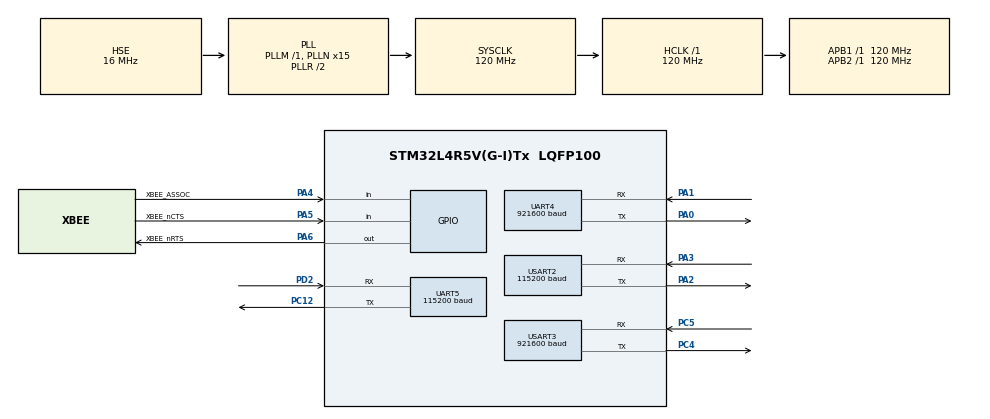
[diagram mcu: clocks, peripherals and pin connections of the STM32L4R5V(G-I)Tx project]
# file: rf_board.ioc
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Dma.Request0=USART3_RX
Dma.USART3_RX.0.Direction=DMA_PERIPH_TO_MEMORY
Dma.USART3_RX.0.EventEnable=DISABLE
Dma.USART3_RX.0.Instance=DMA1_Channel1
Dma.USART3_RX.0.MemDataAlignment=DMA_MDATAALIGN_BYTE
Dma.USART3_RX.0.MemInc=DMA_MINC_ENABLE
Dma.USART3_RX.0.Mode=DMA_CIRCULAR
Dma.USART3_RX.0.PeriphDataAlignment=DMA_PDATAALIGN_BYTE
Dma.USART3_RX.0.PeriphInc=DMA_PINC_DISABLE
Dma.USART3_RX.0.Polarity=HAL_DMAMUX_REQUEST_GEN_RISING
Dma.USART3_RX.0.Priority=DMA_PRIORITY_HIGH
Dma.USART3_RX.0.RequestNumber=1
Dma.USART3_RX.0.SignalID=NONE
Dma.USART3_RX.0.SyncEnable=DISABLE
Dma.USART3_RX.0.SyncPolarity=HAL_DMAMUX_SYNC_NO_EVENT
Dma.USART3_RX.0.SyncRequestNumber=1
Dma.USART3_RX.0.SyncSignalID=NONE
FREERTOS.Tasks01=defaultTask,24,128,StartDefaultTask,Default,NULL,Dynamic,NULL,NULL
FREERTOS.configTOTAL_HEAP_SIZE=49152
FREERTOS.configUSE_NEWLIB_REENTRANT=1
Mcu.Family=STM32L4
Mcu.Name=STM32L4R5V(G-I)Tx
Mcu.Package=LQFP100
NVIC.DMA1_Channel1_IRQn=true\:5\:0\:false\:false\:true\:true\:false\:true\:true
NVIC.PriorityGroup=NVIC_PRIORITYGROUP_4
NVIC.TIM6_DAC_IRQn=true\:15\:0\:false\:false\:true\:false\:false\:true\:true
NVIC.TimeBase=TIM6_DAC_IRQn
NVIC.TimeBaseIP=TIM6
NVIC.UART4_IRQn=true\:5\:0\:false\:false\:true\:true\:true\:true\:true
NVIC.UART5_IRQn=true\:5\:0\:false\:false\:true\:true\:true\:true\:true
NVIC.USART2_IRQn=true\:5\:0\:false\:false\:true\:true\:true\:true\:true
NVIC.USART3_IRQn=true\:5\:0\:false\:false\:true\:true\:true\:true\:true
PA0.Mode=Asynchronous
PA0.Signal=UART4_TX
PA1.Mode=Asynchronous
PA1.Signal=UART4_RX
PA13\ (JTMS/SWDIO).Mode=Serial_Wire
PA13\ (JTMS/SWDIO).Signal=SYS_JTMS-SWDIO
PA14\ (JTCK/SWCLK).Mode=Serial_Wire
PA14\ (JTCK/SWCLK).Signal=SYS_JTCK-SWCLK
PA2.Mode=Asynchronous
PA2.Signal=USART2_TX
PA3.Mode=Asynchronous
PA3.Signal=USART2_RX
PA4.GPIO_Label=XBEE_ASSOC
PA4.Signal=GPIO_Input
PA5.GPIO_Label=XBEE_nCTS
PA5.Signal=GPIO_Input
PA6.GPIO_Label=XBEE_nRTS
PA6.Signal=GPIO_Output
PC12.Mode=Asynchronous
PC12.Signal=UART5_TX
PC4.Mode=Asynchronous
PC4.Signal=USART3_TX
PC5.Mode=Asynchronous
PC5.Signal=USART3_RX
PD2.Mode=Asynchronous
PD2.Signal=UART5_RX
PH0-OSC_IN\ (PH0).Mode=HSE-External-Oscillator
PH0-OSC_IN\ (PH0).Signal=RCC_OSC_IN
PH1-OSC_OUT\ (PH1).Mode=HSE-External-Oscillator
PH1-OSC_OUT\ (PH1).Signal=RCC_OSC_OUT
ProjectManager.HeapSize=0x200
ProjectManager.StackSize=0x400
ProjectManager.TargetToolchain=STM32CubeIDE
RCC.ADCFreq_Value=64000000
RCC.AHBFreq_Value=120000000
RCC.APB1Freq_Value=120000000
RCC.APB1TimFreq_Value=120000000
RCC.APB2Freq_Value=120000000
RCC.APB2TimFreq_Value=120000000
RCC.CortexFreq_Value=120000000
RCC.HCLKFreq_Value=120000000
RCC.HSE_VALUE=16000000
RCC.HSI48_VALUE=48000000
RCC.HSI_VALUE=16000000
RCC.LSE_VALUE=32768
RCC.MSI_VALUE=4000000
RCC.PLLN=15
RCC.PLLSourceVirtual=RCC_PLLSOURCE_HSE
RCC.SYSCLKFreq_VALUE=120000000
RCC.SYSCLKSource=RCC_SYSCLKSOURCE_PLLCLK
RCC.USBFreq_Value=64000000
RCC.VCOOutputFreq_Value=240000000
UART4.BaudRate=921600
UART4.VirtualMode-Asynchronous=VM_ASYNC
UART5.BaudRate=115200
UART5.VirtualMode-Asynchronous=VM_ASYNC
USART2.BaudRate=115200
USART2.VirtualMode-Asynchronous=VM_ASYNC
USART3.BaudRate=921600
USART3.VirtualMode-Asynchronous=VM_ASYNC
VP_FREERTOS_VS_CMSIS_V2.Mode=CMSIS_V2
VP_SYS_VS_tim6.Mode=TIM6
board=custom

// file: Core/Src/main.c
/* USER CODE BEGIN Header */
/**
  ******************************************************************************
  * @file           : main.c
  * @brief          : Main program body
  ******************************************************************************
  * @attention
  *
  * Copyright (c) 2026 STMicroelectronics.
  * All rights reserved.
  *
  * This software is licensed under terms that can be found in the LICENSE file
  * in the root directory of this software component.
  * If no LICENSE file comes with this software, it is provided AS-IS.
  *
  ******************************************************************************
  */
/* USER CODE END Header */
#include "main.h"
#include "cmsis_os.h"

UART_HandleTypeDef huart4;
UART_HandleTypeDef huart5;
UART_HandleTypeDef huart2;
UART_HandleTypeDef huart3;
DMA_HandleTypeDef hdma_usart3_rx;

/* Definitions for defaultTask */
osThreadId_t defaultTaskHandle;
const osThreadAttr_t defaultTask_attributes = {
  .name = "defaultTask",
  .stack_size = 128 * 4,
  .priority = (osPriority_t) osPriorityNormal,
};

void SystemClock_Config(void);
static void MX_GPIO_Init(void);
static void MX_DMA_Init(void);
static void MX_USART2_UART_Init(void);
static void MX_USART3_UART_Init(void);
static void MX_UART4_Init(void);
static void MX_UART5_Init(void);
void StartDefaultTask(void *argument);

int main(void)
{

  /* MCU Configuration--------------------------------------------------------*/

  /* Reset of all peripherals, Initializes the Flash interface and the Systick. */
  HAL_Init();

  /* Configure the system clock */
  SystemClock_Config();

  /* Initialize all configured peripherals */
  MX_GPIO_Init();
  MX_DMA_Init();
  MX_USART2_UART_Init();
  MX_USART3_UART_Init();
  MX_UART4_Init();
  MX_UART5_Init();

  /* Init scheduler */
  osKernelInitialize();

  /* Create the thread(s) */
  /* creation of defaultTask */
  defaultTaskHandle = osThreadNew(StartDefaultTask, NULL, &defaultTask_attributes);

  /* USER CODE BEGIN RTOS_THREADS */
  RF_Tasks_Init();   /* fc_comms, lora, xbee, gsm (freertos.c) */
  /* USER CODE END RTOS_THREADS */

  /* Start scheduler */
  osKernelStart();

  /* We should never get here as control is now taken by the scheduler */

  /* Infinite loop */
  while (1)
  {

  }
}

void SystemClock_Config(void)
{
  RCC_OscInitTypeDef RCC_OscInitStruct = {0};
  RCC_ClkInitTypeDef RCC_ClkInitStruct = {0};

  /** Configure the main internal regulator output voltage
  */
  if (HAL_PWREx_ControlVoltageScaling(PWR_REGULATOR_VOLTAGE_SCALE1_BOOST) != HAL_OK)
  {
    Error_Handler();
  }

  /** Initializes the RCC Oscillators according to the specified parameters
  * in the RCC_OscInitTypeDef structure.
  */
  RCC_OscInitStruct.OscillatorType = RCC_OSCILLATORTYPE_HSE;
  RCC_OscInitStruct.HSEState = RCC_HSE_ON;
  RCC_OscInitStruct.PLL.PLLState = RCC_PLL_ON;
  RCC_OscInitStruct.PLL.PLLSource = RCC_PLLSOURCE_HSE;
  RCC_OscInitStruct.PLL.PLLM = 1;
  RCC_OscInitStruct.PLL.PLLN = 15;
  RCC_OscInitStruct.PLL.PLLP = RCC_PLLP_DIV2;
  RCC_OscInitStruct.PLL.PLLQ = RCC_PLLQ_DIV2;
  RCC_OscInitStruct.PLL.PLLR = RCC_PLLR_DIV2;
  if (HAL_RCC_OscConfig(&RCC_OscInitStruct) != HAL_OK)
  {
    Error_Handler();
  }

  /** Initializes the CPU, AHB and APB buses clocks
  */
  RCC_ClkInitStruct.ClockType = RCC_CLOCKTYPE_HCLK|RCC_CLOCKTYPE_SYSCLK
                              |RCC_CLOCKTYPE_PCLK1|RCC_CLOCKTYPE_PCLK2;
  RCC_ClkInitStruct.SYSCLKSource = RCC_SYSCLKSOURCE_PLLCLK;
  RCC_ClkInitStruct.AHBCLKDivider = RCC_SYSCLK_DIV1;
  RCC_ClkInitStruct.APB1CLKDivider = RCC_HCLK_DIV1;
  RCC_ClkInitStruct.APB2CLKDivider = RCC_HCLK_DIV1;

  if (HAL_RCC_ClockConfig(&RCC_ClkInitStruct, FLASH_LATENCY_5) != HAL_OK)
  {
    Error_Handler();
  }
}

static void MX_UART4_Init(void)
{

  huart4.Instance = UART4;
  huart4.Init.BaudRate = 921600;
  huart4.Init.WordLength = UART_WORDLENGTH_8B;
  huart4.Init.StopBits = UART_STOPBITS_1;
  huart4.Init.Parity = UART_PARITY_NONE;
  huart4.Init.Mode = UART_MODE_TX_RX;
  huart4.Init.HwFlowCtl = UART_HWCONTROL_NONE;
  huart4.Init.OverSampling = UART_OVERSAMPLING_16;
  huart4.Init.OneBitSampling = UART_ONE_BIT_SAMPLE_DISABLE;
  huart4.Init.ClockPrescaler = UART_PRESCALER_DIV1;
  huart4.AdvancedInit.AdvFeatureInit = UART_ADVFEATURE_NO_INIT;
  if (HAL_UART_Init(&huart4) != HAL_OK)
  {
    Error_Handler();
  }
  if (HAL_UARTEx_SetTxFifoThreshold(&huart4, UART_TXFIFO_THRESHOLD_1_8) != HAL_OK)
  {
    Error_Handler();
  }
  if (HAL_UARTEx_SetRxFifoThreshold(&huart4, UART_RXFIFO_THRESHOLD_1_8) != HAL_OK)
  {
    Error_Handler();
  }
  if (HAL_UARTEx_DisableFifoMode(&huart4) != HAL_OK)
  {
    Error_Handler();
  }

}

static void MX_UART5_Init(void)
{

  huart5.Instance = UART5;
  huart5.Init.BaudRate = 115200;
  huart5.Init.WordLength = UART_WORDLENGTH_8B;
  huart5.Init.StopBits = UART_STOPBITS_1;
  huart5.Init.Parity = UART_PARITY_NONE;
  huart5.Init.Mode = UART_MODE_TX_RX;
  huart5.Init.HwFlowCtl = UART_HWCONTROL_NONE;
  huart5.Init.OverSampling = UART_OVERSAMPLING_16;
  huart5.Init.OneBitSampling = UART_ONE_BIT_SAMPLE_DISABLE;
  huart5.Init.ClockPrescaler = UART_PRESCALER_DIV1;
  huart5.AdvancedInit.AdvFeatureInit = UART_ADVFEATURE_NO_INIT;
  if (HAL_UART_Init(&huart5) != HAL_OK)
  {
    Error_Handler();
  }
  if (HAL_UARTEx_SetTxFifoThreshold(&huart5, UART_TXFIFO_THRESHOLD_1_8) != HAL_OK)
  {
    Error_Handler();
  }
  if (HAL_UARTEx_SetRxFifoThreshold(&huart5, UART_RXFIFO_THRESHOLD_1_8) != HAL_OK)
  {
    Error_Handler();
  }
  if (HAL_UARTEx_DisableFifoMode(&huart5) != HAL_OK)
  {
    Error_Handler();
  }

}

static void MX_USART2_UART_Init(void)
{

  huart2.Instance = USART2;
  huart2.Init.BaudRate = 115200;
  huart2.Init.WordLength = UART_WORDLENGTH_8B;
  huart2.Init.StopBits = UART_STOPBITS_1;
  huart2.Init.Parity = UART_PARITY_NONE;
  huart2.Init.Mode = UART_MODE_TX_RX;
  huart2.Init.HwFlowCtl = UART_HWCONTROL_NONE;
  huart2.Init.OverSampling = UART_OVERSAMPLING_16;
  huart2.Init.OneBitSampling = UART_ONE_BIT_SAMPLE_DISABLE;
  huart2.Init.ClockPrescaler = UART_PRESCALER_DIV1;
  huart2.AdvancedInit.AdvFeatureInit = UART_ADVFEATURE_NO_INIT;
  if (HAL_UART_Init(&huart2) != HAL_OK)
  {
    Error_Handler();
  }
  if (HAL_UARTEx_SetTxFifoThreshold(&huart2, UART_TXFIFO_THRESHOLD_1_8) != HAL_OK)
  {
    Error_Handler();
  }
  if (HAL_UARTEx_SetRxFifoThreshold(&huart2, UART_RXFIFO_THRESHOLD_1_8) != HAL_OK)
  {
    Error_Handler();
  }
  if (HAL_UARTEx_DisableFifoMode(&huart2) != HAL_OK)
  {
    Error_Handler();
  }

}

static void MX_USART3_UART_Init(void)
{

  huart3.Instance = USART3;
  huart3.Init.BaudRate = 921600;
  huart3.Init.WordLength = UART_WORDLENGTH_8B;
  huart3.Init.StopBits = UART_STOPBITS_1;
  huart3.Init.Parity = UART_PARITY_NONE;
  huart3.Init.Mode = UART_MODE_TX_RX;
  huart3.Init.HwFlowCtl = UART_HWCONTROL_NONE;
  huart3.Init.OverSampling = UART_OVERSAMPLING_16;
  huart3.Init.OneBitSampling = UART_ONE_BIT_SAMPLE_DISABLE;
  huart3.Init.ClockPrescaler = UART_PRESCALER_DIV1;
  huart3.AdvancedInit.AdvFeatureInit = UART_ADVFEATURE_NO_INIT;
  if (HAL_UART_Init(&huart3) != HAL_OK)
  {
    Error_Handler();
  }
  if (HAL_UARTEx_SetTxFifoThreshold(&huart3, UART_TXFIFO_THRESHOLD_1_8) != HAL_OK)
  {
    Error_Handler();
  }
  if (HAL_UARTEx_SetRxFifoThreshold(&huart3, UART_RXFIFO_THRESHOLD_1_8) != HAL_OK)
  {
    Error_Handler();
  }
  if (HAL_UARTEx_DisableFifoMode(&huart3) != HAL_OK)
  {
    Error_Handler();
  }

}

static void MX_DMA_Init(void)
{

  /* DMA controller clock enable */
  __HAL_RCC_DMAMUX1_CLK_ENABLE();
  __HAL_RCC_DMA1_CLK_ENABLE();

  /* DMA interrupt init */
  /* DMA1_Channel1_IRQn interrupt configuration */
  HAL_NVIC_SetPriority(DMA1_Channel1_IRQn, 5, 0);
  HAL_NVIC_EnableIRQ(DMA1_Channel1_IRQn);

}

static void MX_GPIO_Init(void)
{
  GPIO_InitTypeDef GPIO_InitStruct = {0};

  /* GPIO Ports Clock Enable */
  __HAL_RCC_GPIOH_CLK_ENABLE();
  __HAL_RCC_GPIOA_CLK_ENABLE();
  __HAL_RCC_GPIOC_CLK_ENABLE();
  __HAL_RCC_GPIOD_CLK_ENABLE();

  /*Configure GPIO pin Output Level */
  HAL_GPIO_WritePin(XBEE_nRTS_GPIO_Port, XBEE_nRTS_Pin, GPIO_PIN_RESET);

  /*Configure GPIO pins : XBEE_ASSOC_Pin XBEE_nCTS_Pin */
  GPIO_InitStruct.Pin = XBEE_ASSOC_Pin|XBEE_nCTS_Pin;
  GPIO_InitStruct.Mode = GPIO_MODE_INPUT;
  GPIO_InitStruct.Pull = GPIO_NOPULL;
  HAL_GPIO_Init(GPIOA, &GPIO_InitStruct);

  /*Configure GPIO pin : XBEE_nRTS_Pin */
  GPIO_InitStruct.Pin = XBEE_nRTS_Pin;
  GPIO_InitStruct.Mode = GPIO_MODE_OUTPUT_PP;
  GPIO_InitStruct.Pull = GPIO_NOPULL;
  GPIO_InitStruct.Speed = GPIO_SPEED_FREQ_LOW;
  HAL_GPIO_Init(XBEE_nRTS_GPIO_Port, &GPIO_InitStruct);

}

void StartDefaultTask(void *argument)
{
  for(;;)
  {
    osDelay(1);
  }
}

void HAL_TIM_PeriodElapsedCallback(TIM_HandleTypeDef *htim)
{
  if (htim->Instance == TIM6)
  {
    HAL_IncTick();
  }
}

void Error_Handler(void)
{
  __disable_irq();
  while (1)
  {
  }
}

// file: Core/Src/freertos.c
/* USER CODE BEGIN Header */
/**
  ******************************************************************************
  * File Name          : freertos.c
  * Description        : Code for freertos applications
  ******************************************************************************
  * @attention
  *
  * Copyright (c) 2026 STMicroelectronics.
  * All rights reserved.
  *
  * This software is licensed under terms that can be found in the LICENSE file
  * in the root directory of this software component.
  * If no LICENSE file comes with this software, it is provided AS-IS.
  *
  ******************************************************************************
  */
/* USER CODE END Header */

#include "FreeRTOS.h"
#include "task.h"
#include "main.h"

/* USER CODE BEGIN Includes */
#include "cmsis_os.h"
#include "telemetry.h"
#include <ctype.h>
#include <math.h>
#include <stdbool.h>
#include <stdio.h>
#include <stdlib.h>
#include <string.h>
/* USER CODE END Includes */

/* USER CODE BEGIN PD */
/* ---------------- tunables ---------------- */
#define LORA_PERIOD_MS      3000    /* E22 air rate 2.4 kbps: one ~280 B frame is ~1.15 s on air (half duplex); the rest is the telecommand window */
#define XBEE_PERIOD_MS      200
#define GSM_PERIOD_MS       66      /* ~15 Hz; see note in gsm_task */
#define SMS_PERIOD_MS       60000
#define GSM_BOOT_MS         5000    /* EC200U power-up before the first AT */
#define GSM_PUB_TIMEOUT_MS  200     /* wait for +QMTPUBEX; a slow ack is not a link failure */
#define GSM_MAX_FAILS       8       /* consecutive publish failures -> reconnect */
#define MQTT_RETRY_MS       3000    /* pause between broker connect attempts (never gives up) */
#define MQTT_RETRIES_PER_NET 5      /* after this many broker misses, redo the network bring-up as well */
#define SMS_TIMEOUT_MS      8000    /* +CMGS can take seconds; publishing pauses meanwhile */
#define LORA_CHUNK          240     /* E22 UART sub-packet: send 240, pause, send the rest (rf_txtest build) */
#define LORA_CHUNK_GAP_MS   1000    /* first chunk must be fully on air before the tail (was 500 at 62.5 kbps) */
#define XBEE_CTS_WAIT_MS    50
#define XBEE_PIECE          256     /* bytes per XBee write between nCTS checks (one RF packet) */
#define XBEE_IMG_MARGIN_MS  25      /* stop relaying image lines this close to the next telemetry slot */
#define XBEE_AT_MAX         64      /* longest XBee AT telecommand, e.g. "ATCH 11" (rf 4 reference values) */
#define XBEE_AT_GUARD_MS    1100    /* silence required before "+++" */
#define XBEE_AT_RESP_MS     2000    /* wait for each XBee reply */
#define XBEE_AT_SETTLE_MS   100     /* pause after ATCN before relaying again */
#define GSM_IMG_PER_PERIOD  1       /* image lines published per GSM period (~15 lines/s) */
#define IMG_RING            192     /* buffered $IMG lines: 270 KB static in RAM3 (384 KB), ~190 KB of image */
#define IMG_LINE_MAX        1408    /* $IMG line of 1024 raw bytes (IMG LINK XBEE, FC default) is ~1400 chars.
                                       IMG LINK MQTT lines (~13.8 KB) do not fit: that command is blocked */

#define GSM_APN         "airtelgprs.com"
#define MQTT_BROKER     "broker.hivemq.com"
#define MQTT_PORT       1883
#define MQTT_CLIENT_ID  "cansat_rf_011"
#define MQTT_TOPIC_TLM  "cansat/011/tlm"
#define MQTT_TOPIC_CMD  "cansat/011/cmd"
#define MQTT_TOPIC_IMG  "cansat/011/img"
#define MQTT_TOPIC_ACK  "cansat/011/ack"   /* "OK <cmd>" when forwarded, "ARMED", "ARM? <cmd>", "BAD <cmd>" */
#define SMS_NUMBER      "+916375605728"
#define SMS_CMD_FROM    "+919373986194"  /* only SMS from this number are telecommands; "" accepts any sender */

#define TC_MAX          120     /* longest telecommand line incl. CRLF (FC limit 127) */
#define TC_GAP_MS       20      /* FC asks for >= 20 ms between command lines */
#define TC_ARM_MS       60000   /* ARM opens this window for RESET/BURN/DEPLOY/PARA/STATE/PERSIST/SD/BENCH/DIAG/SIM */
#define FC_DMA_BUF      2048    /* 1.4 KB $IMG lines arrive back to back at 921600 (10 ms apart) */
#define GSM_ACC_MAX     1024
#define GNSS_PERIOD_MS  1000    /* AT+QGPSLOC poll of the EC200U GNSS; blocks the gsm loop ~100 ms each time */
/* USER CODE END PD */

/* USER CODE BEGIN Variables */
/* RF board application tasks live here (see RF_Tasks_Init at the bottom):
 *   fc_comms  USART3 (DMA)  parse FC telemetry, queue $IMG lines, relay ground-station commands to the FC
 *   lora      UART5         E22-900T22D, telemetry every 3 s
 *   xbee      USART2        XBee Pro, telemetry at 5 Hz + image lines in between
 *   gsm       UART4         EC200U, MQTT at 15 Hz + image lines + SMS every 60 s
 */
extern UART_HandleTypeDef huart2, huart3, huart4, huart5;
extern DMA_HandleTypeDef  hdma_usart3_rx;

/* ---------------- shared state ---------------- */
static FC_tlm        fc_tlm;              /* latest packet from the FC */
static bool          fc_valid;
static FC_tlm        gsm_gnss;            /* EC200U fix, GNSS fields only; sats 0 = no fix. Guarded by fc_mutex */
static osMutexId_t   fc_mutex;

typedef struct { uint8_t len; char data[TC_MAX]; } tc_msg_t;
static osMessageQueueId_t tc_q;           /* radios/ISRs -> fc_comms -> FC */
static osMessageQueueId_t ack_q;          /* fc_comms -> gsm -> MQTT_TOPIC_ACK */
static uint32_t           tc_armed_until; /* tick until which irreversible commands pass */

static osThreadId_t fc_task_h, gsm_task_h;
enum { FLAG_RX = 1, FLAG_RESET = 2 };

/* Image relay ring: fc_comms writes $IMGSTART/$IMG/$IMGEND lines verbatim (+CRLF), xbee and gsm
 * each read at their own pace. Sequence numbers, slot = seq % IMG_RING; full when the slowest
 * reader is IMG_RING behind. IMGACK,<id>,OK goes to the FC once both readers passed $IMGEND. */
typedef struct { uint16_t len; char data[IMG_LINE_MAX]; } img_line_t;
static img_line_t        img_ring[IMG_RING];
static volatile uint32_t img_w, img_r_xbee, img_r_gsm;
static bool              img_drop;             /* a line of the current image did not fit */
static int               img_ack_id = -1;      /* image waiting for its OK ack, or -1 */
static uint32_t          img_ack_seq;          /* readers must reach this seq before the OK */

static uint8_t fc_dma_buf[FC_DMA_BUF];
static uint8_t lora_rx[TC_MAX], xbee_rx[TC_MAX], gsm_rx[128];

/* XBee AT telecommand (ported from the rf 4 reference main.c): a USART2 line starting with "AT" configures
 * the XBee itself instead of going to the FC. The ISR queues it (XAT_PENDING); xbee_task runs the sequence
 * (XAT_RUNNING: USART2 RX is the module's reply and goes to xbee_at_acc, not to the FC). One at a time. */
enum { XAT_IDLE, XAT_PENDING, XAT_RUNNING };
static volatile uint8_t  xbee_at_state;
static char              xbee_at_cmd[XBEE_AT_MAX];
static char              xbee_at_acc[64];
static volatile uint8_t  xbee_at_acc_len;

/* EC200U response accumulator: ISR appends, gsm task reads/clears under a critical section */
static char              gsm_acc[GSM_ACC_MAX];
static volatile uint16_t gsm_acc_len;
/* USER CODE END Variables */

/* USER CODE BEGIN Application */
/* ---------------- helpers ---------------- */
/* Fixed-rate sleep. Resyncs instead of bursting if a cycle overran. */
static void sleep_until(uint32_t *next, uint32_t period)
{
    *next += period;
    int32_t left = (int32_t)(*next - osKernelGetTickCount());
    if (left > 0) osDelay(left);
    else *next = osKernelGetTickCount();
}

static bool tlm_snapshot(FC_tlm *dst, uint32_t packet_count)
{
    if (!fc_valid) return false;
    osMutexAcquire(fc_mutex, osWaitForever);
    tlm_copy(dst, &fc_tlm, packet_count);
    if (gsm_gnss.sats > dst->sats) {       /* ponytail: more satellites wins; compare HDOP too if both fixes are weak */
        dst->gnss_time = gsm_gnss.gnss_time;
        dst->lat = gsm_gnss.lat;
        dst->lon = gsm_gnss.lon;
        dst->gnss_alt = gsm_gnss.gnss_alt;
        dst->sats = gsm_gnss.sats;
        dst->gnss_vel[0] = gsm_gnss.gnss_vel[0];
        dst->gnss_vel[1] = gsm_gnss.gnss_vel[1];
    }
    osMutexRelease(fc_mutex);
    return true;
}

/* Queue a telecommand for the FC. Strips CR/LF, appends CRLF (FC console ends lines on Enter).
 * ISR-safe (timeout 0). */
static void tc_push(const char *s, size_t len)
{
    tc_msg_t m;
    while (len && (s[len - 1] == '\r' || s[len - 1] == '\n')) len--;
    if (!len || len > TC_MAX - 2) return;
    memcpy(m.data, s, len);
    m.data[len++] = '\r';
    m.data[len++] = '\n';
    m.len = len;
    osMessageQueuePut(tc_q, &m, 0, 0);
}

/* ---------------- telecommands (FC TELECOMMAND_HANDOFF.md, sections 2, 4, 7) ----------------
 * Normalise a ground-station line for the FC console and decide whether to forward it. Accepts the
 * raw console words ("BUZZ ON") or CMD,<team>,<verb>,<arg,...>. Upper-cases, keeps printable ASCII
 * only, collapses spaces, refuses '$' lines. Irreversible words, DIAG and SIM need an ARM line first
 * (ARM is consumed here, never sent to the FC). Leaves the clean line in m (no CRLF) and returns the
 * ack word for the ground: "OK" = forwarded, "ARMED", "ARM?" = blocked, "BAD" = unusable. */
static const char *tc_filter(tc_msg_t *m)
{
    /* ponytail: whole-word check, so read-only STATE / PERSIST / SD also need ARM; they only print on USB anyway */
    static const char *const armed_only[] = { "RESET", "BURN", "PAYLOAD", "DEPLOY", "STATE", "PERSIST",
                                              "SD", "BENCH", "DIAG", "SIM", "PARA", NULL };
    char *d = m->data;
    uint8_t n = 0, i = 0;
    bool cmd_fmt = m->len > 4 && strncmp(d, "CMD,", 4) == 0;

    if (cmd_fmt) {                                  /* CMD,<team>,VERB,ARG -> VERB ARG */
        int commas = 0;
        while (i < m->len && commas < 2) if (d[i++] == ',') commas++;
    }
    for (; i < m->len; i++) {
        char c = d[i];
        if (cmd_fmt && c == ',') c = ' ';
        if (c < 0x20 || c > 0x7e) continue;
        if (c == ' ' && (n == 0 || d[n - 1] == ' ')) continue;
        d[n++] = (char)toupper((unsigned char)c);
    }
    while (n && d[n - 1] == ' ') n--;
    m->len = n;
    if (n == 0 || d[0] == '$' || n > TC_MAX - 2) return "BAD";
    d[n] = 0;                                       /* queue payloads carry no terminator */
    if (strcmp(d, "IMG LINK MQTT") == 0) return "BAD";  /* its ~13.8 KB $IMG lines exceed IMG_LINE_MAX */

    size_t w = strcspn(d, " ,");                    /* SIM,t,alt,... has no space after the word */
    if (w == 3 && strncmp(d, "ARM", 3) == 0) {
        tc_armed_until = osKernelGetTickCount() + TC_ARM_MS;
        return "ARMED";
    }
    for (int k = 0; armed_only[k]; k++)
        if (strlen(armed_only[k]) == w && strncmp(d, armed_only[k], w) == 0 &&
            (int32_t)(tc_armed_until - osKernelGetTickCount()) <= 0)
            return "ARM?";
    return "OK";
}

/* Queue "<status> <line>" for the gsm task to publish on MQTT_TOPIC_ACK (handoff section 8, option A). */
/* The FC's command task blocks on these (handoff 4.4, 10); hold our queue meanwhile so nothing
 * piles into its 512-byte RX ring. Returns the extra ms to wait after sending the line. */
static uint32_t tc_hold(const char *line)
{
    if (strncmp(line, "GYRO CAL", 8) == 0) return 13000;   /* waits for gyro status 3, then averages 3 s */
    if (strncmp(line, "SD CLEAR", 8) == 0) return 3000;    /* a few seconds with a full card */
    return 0;
}

static void tc_ack(const char *status, const tc_msg_t *m)
{
    tc_msg_t a;
    int n = snprintf(a.data, sizeof a.data, "%s %.*s", status, (int)m->len, m->data);
    a.len = (uint8_t)(n < (int)sizeof a.data ? n : (int)sizeof a.data - 1);
    osMessageQueuePut(ack_q, &a, 0, 0);
}

/* ---------------- XBee AT telecommands, ISR side ---------------- */
/* "AT..." line -> xbee_at_cmd (no CR/LF), true. Anything else -> false, it is for the FC.
 * While a command is queued or running, further AT lines are dropped (reference: "busy, dropped"). */
static bool xbee_at_queue(const char *s, size_t n)
{
    size_t len = 0;
    while (n && (*s == '\r' || *s == '\n' || *s == ' ')) s++, n--;
    if (n < 2 || s[0] != 'A' || s[1] != 'T') return false;
    if (xbee_at_state != XAT_IDLE) return true;
    while (len < n && len < XBEE_AT_MAX - 1 && s[len] != '\r' && s[len] != '\n') len++;
    memcpy(xbee_at_cmd, s, len);
    xbee_at_cmd[len] = 0;
    xbee_at_state = XAT_PENDING;
    return true;
}

static void xbee_at_collect(const uint8_t *s, size_t n)
{
    if (xbee_at_acc_len + n < sizeof xbee_at_acc) {
        memcpy(xbee_at_acc + xbee_at_acc_len, s, n);
        xbee_at_acc_len += n;
        xbee_at_acc[xbee_at_acc_len] = 0;
    }
}

/* ---------------- UART callbacks ---------------- */
void HAL_UARTEx_RxEventCallback(UART_HandleTypeDef *h, uint16_t size)
{
    if (h == &huart3) {                     /* circular DMA keeps running; wake the parser */
        if (fc_task_h) osThreadFlagsSet(fc_task_h, FLAG_RX);
    } else if (h == &huart4) {
        if (gsm_acc_len + size < GSM_ACC_MAX) {
            memcpy(gsm_acc + gsm_acc_len, gsm_rx, size);
            gsm_acc_len += size;
            gsm_acc[gsm_acc_len] = 0;
        }
        if (gsm_task_h) osThreadFlagsSet(gsm_task_h, FLAG_RX);
        HAL_UARTEx_ReceiveToIdle_IT(&huart4, gsm_rx, sizeof gsm_rx);
    } else if (h == &huart5) {              /* LoRa: transparent mode, payload is the command */
        tc_push((char *)lora_rx, size);     /* ponytail: a command split across two IDLE events becomes two lines */
        HAL_UARTEx_ReceiveToIdle_IT(&huart5, lora_rx, sizeof lora_rx);
    } else if (h == &huart2) {              /* XBee: transparent mode; "AT..." lines configure the XBee itself */
        if (xbee_at_state == XAT_RUNNING) xbee_at_collect(xbee_rx, size);
        else if (!xbee_at_queue((char *)xbee_rx, size)) tc_push((char *)xbee_rx, size);
        HAL_UARTEx_ReceiveToIdle_IT(&huart2, xbee_rx, sizeof xbee_rx);
    }
}

/* Overrun/framing errors abort HAL reception: re-arm, never let a port go deaf. */
void HAL_UART_ErrorCallback(UART_HandleTypeDef *h)
{
    __HAL_UART_CLEAR_OREFLAG(h);
    if (h == &huart3) {
        HAL_UARTEx_ReceiveToIdle_DMA(&huart3, fc_dma_buf, sizeof fc_dma_buf);
        if (fc_task_h) osThreadFlagsSet(fc_task_h, FLAG_RESET);
    } else if (h == &huart4) HAL_UARTEx_ReceiveToIdle_IT(&huart4, gsm_rx, sizeof gsm_rx);
    else if (h == &huart5)   HAL_UARTEx_ReceiveToIdle_IT(&huart5, lora_rx, sizeof lora_rx);
    else if (h == &huart2)   HAL_UARTEx_ReceiveToIdle_IT(&huart2, xbee_rx, sizeof xbee_rx);
}

/* ---------------- image relay ring ---------------- */
static uint32_t img_min_read(void)
{
    uint32_t a = img_r_xbee, b = img_r_gsm;
    return a < b ? a : b;
}

/* Next unsent line for a reader, or NULL. The reader bumps *r after it has sent the line. */
static const img_line_t *img_peek(volatile uint32_t *r)
{
    return *r != img_w ? &img_ring[*r % IMG_RING] : NULL;
}

static void img_ack(int id, bool ok)
{
    char s[24];
    int n = snprintf(s, sizeof s, "IMGACK,%d,%s\r\n", id, ok ? "OK" : "FAIL");
    HAL_UART_Transmit(&huart3, (uint8_t *)s, n, 50);
}

static void img_push(const char *line)
{
    size_t n = strlen(line);
    if (strncmp(line, "$IMGSTART,", 10) == 0) { img_drop = false; img_ack_id = -1; }

    if (n + 2 > IMG_LINE_MAX || img_w - img_min_read() >= IMG_RING) {
        img_drop = true;                                   /* radios too slow for this image: it will FAIL */
    } else {
        img_line_t *l = &img_ring[img_w % IMG_RING];
        memcpy(l->data, line, n);
        l->data[n] = '\r';
        l->data[n + 1] = '\n';
        l->len = n + 2;
        __DMB();                                           /* data before the readers see the new seq */
        img_w++;
    }

    if (strncmp(line, "$IMGEND,", 8) == 0) {
        int id = (int)strtoul(line + 8, NULL, 10);
        if (img_drop) img_ack(id, false);                  /* FC resends the image */
        else { img_ack_id = id; img_ack_seq = img_w; }     /* OK once both radios drained it */
    }
}

/* ---------------- 1. fc_comms ---------------- */
static void fc_handle_line(const char *line)
{
    FC_tlm t;
    if (strncmp(line, "$IMG", 4) == 0) { img_push(line); return; }
    if (line[0] != '$' || line[1] != ',') return;   /* console echo etc.: not handled here */
    if (tlm_parse(line, &t) != 0) return;
    osMutexAcquire(fc_mutex, osWaitForever);
    fc_tlm = t;
    fc_valid = true;
    osMutexRelease(fc_mutex);
}

static void fc_comms_task(void *arg)
{
    static char line[IMG_LINE_MAX];
    uint16_t tail = 0, ll = 0;
    uint32_t tc_last = 0;
    tc_msg_t m;

    fc_task_h = osThreadGetId();
    HAL_UARTEx_ReceiveToIdle_DMA(&huart3, fc_dma_buf, sizeof fc_dma_buf);

    for (;;) {
        uint32_t f = osThreadFlagsWait(FLAG_RX | FLAG_RESET, osFlagsWaitAny, 20);
        if (!(f & 0x80000000u) && (f & FLAG_RESET)) { tail = 0; ll = 0; }

        uint16_t head = FC_DMA_BUF - __HAL_DMA_GET_COUNTER(&hdma_usart3_rx);
        while (tail != head) {
            char c = (char)fc_dma_buf[tail];
            tail = (tail + 1) % FC_DMA_BUF;
            if (c == '\n') {
                line[ll] = 0;
                fc_handle_line(line);
                ll = 0;
            } else if (c != '\r') {
                if (ll < sizeof line - 1) line[ll++] = c;
                else ll = 0;                            /* garbage longer than a frame: drop it */
            }
        }

        /* one command per pass, at least TC_GAP_MS apart (the FC polls its 512-byte ring every 20 ms) */
        if ((int32_t)(osKernelGetTickCount() - tc_last) >= TC_GAP_MS &&
            osMessageQueueGet(tc_q, &m, NULL, 0) == osOK) {
            const char *st = tc_filter(&m);
            tc_ack(st, &m);
            if (st[0] == 'O') {
                m.data[m.len++] = '\r';
                m.data[m.len++] = '\n';
                HAL_UART_Transmit(&huart3, (uint8_t *)m.data, m.len, 50);
                tc_last = osKernelGetTickCount() + tc_hold(m.data);
            }
        }

        if (img_ack_id >= 0 && img_min_read() >= img_ack_seq) {
            img_ack(img_ack_id, true);
            img_ack_id = -1;
        }
    }
}

/* ---------------- 2. LoRa ---------------- */
static void lora_task(void *arg)
{
    static char buf[TLM_LINE_MAX];
    LoRa_tlm t;
    uint32_t count = 0, next = osKernelGetTickCount();

    HAL_UARTEx_ReceiveToIdle_IT(&huart5, lora_rx, sizeof lora_rx);
    for (;;) {
        if (tlm_snapshot(&t, count + 1)) {
            int len = tlm_format(&t, buf, sizeof buf);
            if (len > 0) {
                int first = len > LORA_CHUNK ? LORA_CHUNK : len;
                HAL_UART_Transmit(&huart5, (uint8_t *)buf, first, 200);
                if (len > first) {
                    osDelay(LORA_CHUNK_GAP_MS);
                    HAL_UART_Transmit(&huart5, (uint8_t *)buf + first, len - first, 200);
                }
                count++;
            }
        }
        sleep_until(&next, LORA_PERIOD_MS);
    }
}

/* ---------------- 3. XBee ---------------- */
static bool xbee_write(const char *s, int len)
{
    /* XBee nCTS high = its UART buffer is nearly full: check before each XBEE_PIECE, wait a little, then send anyway */
    for (int off = 0; off < len; off += XBEE_PIECE) {
        int n = len - off < XBEE_PIECE ? len - off : XBEE_PIECE;
        for (int i = 0; i < XBEE_CTS_WAIT_MS / 5 && HAL_GPIO_ReadPin(XBEE_nCTS_GPIO_Port, XBEE_nCTS_Pin) == GPIO_PIN_SET; i++)
            osDelay(5);
        if (HAL_UART_Transmit(&huart2, (uint8_t *)s + off, n, 100) != HAL_OK) return false;
    }
    return len > 0;
}

/* ---------------- XBee AT telecommands, task side ---------------- */
static void xbee_at_clear(void)
{
    taskENTER_CRITICAL();
    xbee_at_acc_len = 0;
    xbee_at_acc[0] = 0;
    taskEXIT_CRITICAL();
}

/* Wait for one reply line from the XBee (ends in '\r'); out gets it without CR/LF. false on timeout. */
static bool xbee_at_wait(char *out, size_t n, uint32_t timeout_ms)
{
    uint32_t deadline = osKernelGetTickCount() + timeout_ms;
    for (;;) {
        bool done = false;
        taskENTER_CRITICAL();
        const char *p = xbee_at_acc;
        while (*p == '\r' || *p == '\n') p++;
        if (*p && strchr(p, '\r')) {
            size_t l = strcspn(p, "\r\n");
            if (l >= n) l = n - 1;
            memcpy(out, p, l);
            out[l] = 0;
            xbee_at_acc_len = 0;
            xbee_at_acc[0] = 0;
            done = true;
        }
        taskEXIT_CRITICAL();
        if (done) return true;
        if ((int32_t)(deadline - osKernelGetTickCount()) <= 0) return false;
        osDelay(10);
    }
}

/* "RESP|<cmd>|<status>|<detail>\r\n" to the ground; the XBee must be in transparent mode. */
static void xbee_at_resp(const char *status, const char *detail)
{
    char buf[96];
    int n = snprintf(buf, sizeof buf, "RESP|%.4s|%s|%s\r\n", xbee_at_cmd, status, detail);
    xbee_write(buf, n < (int)sizeof buf ? n : (int)sizeof buf - 1);
}

/* Run the queued AT telecommand, same sequence as the rf 4 reference but blocking in this task (telemetry
 * and image lines pause, so the XBee sees the guard silence):
 *   guard -> "+++" (OK) -> "<cmd>\r" -> "ATWR\r" only when a value was set (never for ATWR/ATCN/ATFR/ATRE
 *   or plain queries) -> "ATCN\r" -> settle -> RESP|<cmd>|OK/ERROR|<detail>
 * RF-link changes (ATCH/ATID/ATDH/ATDL/ATZS/ATEE/ATEO/ATKY) are answered "OK|ACCEPTED" before they run,
 * because afterwards the link may no longer work; ATFR gets no reply (module reboots). */
static void xbee_at_run(void)
{
    static const char *const rf_change[] = { "ATCH", "ATID", "ATDH", "ATDL", "ATZS", "ATEE", "ATEO", "ATKY", NULL };
    static const char *const no_wr[]     = { "ATWR", "ATCN", "ATFR", "ATRE", NULL };
    const char *cmd = xbee_at_cmd, *status = "OK", *detail = "-";
    char line[XBEE_AT_MAX + 2], resp[32], result[32];
    bool early = false;
    int k;

    for (k = 0; rf_change[k]; k++) if (strncmp(cmd, rf_change[k], 4) == 0) early = true;
    if (early) xbee_at_resp("OK", "ACCEPTED");

    xbee_at_state = XAT_RUNNING;                    /* USART2 RX now feeds xbee_at_acc */
    osDelay(XBEE_AT_GUARD_MS);
    xbee_at_clear();                                /* discard anything received so far; keep only the reply */
    if (!xbee_write("+++", 3)) { status = "ERROR"; detail = "UART"; }
    else if (!xbee_at_wait(resp, sizeof resp, XBEE_AT_RESP_MS) || !strstr(resp, "OK")) {
        status = "ERROR"; detail = "NO_CMD_MODE";   /* reference aborts here without ATCN */
    } else {
        int n = snprintf(line, sizeof line, "%s\r", cmd);
        if (!xbee_write(line, n)) { status = "ERROR"; detail = "UART"; }
        else if (!xbee_at_wait(result, sizeof result, XBEE_AT_RESP_MS)) { status = "ERROR"; detail = "TIMEOUT"; }
        else {
            detail = result;                        /* first reply line, e.g. "OK" or "3001" */
            if (strstr(result, "ERR")) status = "ERROR";
            else {
                bool wr = strlen(cmd) > 4;          /* a value was set: save it to flash */
                for (k = 0; no_wr[k]; k++) if (strcmp(cmd, no_wr[k]) == 0) wr = false;
                if (wr && (!xbee_write("ATWR\r", 5) || !xbee_at_wait(resp, sizeof resp, XBEE_AT_RESP_MS) ||
                           !strstr(resp, "OK"))) {
                    status = "ERROR"; detail = "ATWR_FAIL";
                }
            }
        }
        if (strcmp(cmd, "ATCN") != 0) xbee_write("ATCN\r", 5);
        osDelay(XBEE_AT_SETTLE_MS);                 /* the OK to ATCN arrives meanwhile and is dropped */
    }
    xbee_at_clear();
    xbee_at_state = XAT_IDLE;
    if (!early && strcmp(cmd, "ATFR") != 0) xbee_at_resp(status, detail);
}

static void xbee_task(void *arg)
{
    static char buf[TLM_LINE_MAX];
    Xbee_tlm t;
    const img_line_t *l;
    uint32_t count = 0, next = osKernelGetTickCount();

    HAL_GPIO_WritePin(XBEE_nRTS_GPIO_Port, XBEE_nRTS_Pin, GPIO_PIN_RESET);   /* we are always ready to receive */
    HAL_UARTEx_ReceiveToIdle_IT(&huart2, xbee_rx, sizeof xbee_rx);
    for (;;) {
        if (xbee_at_state == XAT_PENDING) xbee_at_run();   /* ~1.5-3 s with no telemetry on XBee */
        if (tlm_snapshot(&t, count + 1) && xbee_write(buf, tlm_format(&t, buf, sizeof buf))) count++;

        /* image lines fill the rest of the 200 ms slot: ~125 ms per 1.4 KB line at 115200 (len/10 ms), so one per slot */
        while ((l = img_peek(&img_r_xbee)) &&
               (int32_t)(next + XBEE_PERIOD_MS - osKernelGetTickCount()) > XBEE_IMG_MARGIN_MS + l->len / 10) {
            xbee_write(l->data, l->len);
            img_r_xbee++;
        }
        sleep_until(&next, XBEE_PERIOD_MS);
    }
}

/* ---------------- 4. GSM (EC200U) ---------------- */
static void gsm_send(const char *s, size_t n)
{
    HAL_UART_Transmit(&huart4, (const uint8_t *)s, n, 200);
}

static void gsm_clear(void)
{
    taskENTER_CRITICAL();
    gsm_acc_len = 0;
    gsm_acc[0] = 0;
    taskEXIT_CRITICAL();
}

static bool gsm_has(const char *s)
{
    bool hit;
    taskENTER_CRITICAL();
    hit = strstr(gsm_acc, s) != NULL;
    taskEXIT_CRITICAL();
    return hit;
}

/* Pull "+QMTRECV: 0,<id>,"<topic>","<payload>"" out of the accumulator and queue the payload
 * for the FC. Same for an SMS delivered as "+CMT: "<sender>",,"<time>"\r\n<text>\r\n" (AT+CNMI=2,2),
 * if the sender is SMS_CMD_FROM. Also reports a dropped MQTT link (+QMTSTAT). */
static bool gsm_handle_urc(void)
{
    char cmd[TC_MAX];
    for (;;) {
        size_t n = 0;
        char *p, *hdr, *body;
        bool from_ok = false;
        taskENTER_CRITICAL();
        p = strstr(gsm_acc, "+CMT:");
        if (p && (hdr = strstr(p, "\r\n")) && (body = strstr(hdr + 2, "\r\n"))) {   /* header and text complete */
            *hdr = 0;
            from_ok = !SMS_CMD_FROM[0] || strstr(p, SMS_CMD_FROM) != NULL;
            n = (size_t)(body - hdr - 2);
            if (n > sizeof cmd) n = sizeof cmd;
            memcpy(cmd, hdr + 2, n);
            memmove(p, body + 2, strlen(body + 2) + 1);
            gsm_acc_len = strlen(gsm_acc);
        }
        taskEXIT_CRITICAL();
        if (!p || !n) break;                                /* none, one still arriving, or empty text */
        if (from_ok) tc_push(cmd, n);                       /* ponytail: a multi-line SMS forwards its first line only */
    }
    for (;;) {
        size_t n = 0;
        char *p, *q[4] = {0};
        taskENTER_CRITICAL();
        p = strstr(gsm_acc, "+QMTRECV:");
        if (p) {
            char *s = p;
            for (int i = 0; i < 4 && s; i++) { s = strchr(s, '"'); q[i] = s; if (s) s++; }
            if (q[3]) {                                     /* complete URC: copy payload, consume it */
                n = (size_t)(q[3] - q[2] - 1);
                if (n > sizeof cmd) n = sizeof cmd;
                memcpy(cmd, q[2] + 1, n);
                memmove(p, q[3] + 1, strlen(q[3] + 1) + 1);
                gsm_acc_len = strlen(gsm_acc);
            }
        }
        taskEXIT_CRITICAL();
        if (!n) break;                                      /* none left, or one still arriving */
        tc_push(cmd, n);
    }
    return gsm_has("+QMTSTAT:");
}

/* Wait until `expect` shows up in the response. "ERROR" or a timeout returns false. */
static bool gsm_wait(const char *expect, uint32_t timeout_ms)
{
    uint32_t deadline = osKernelGetTickCount() + timeout_ms;
    for (;;) {
        if (gsm_has(expect)) return true;
        if (gsm_has("ERROR")) return false;
        int32_t left = (int32_t)(deadline - osKernelGetTickCount());
        if (left <= 0) return false;
        osThreadFlagsWait(FLAG_RX, osFlagsWaitAny, left);
    }
}

static bool gsm_cmd(const char *cmd, const char *expect, uint32_t timeout_ms)
{
    gsm_handle_urc();
    gsm_clear();
    gsm_send(cmd, strlen(cmd));
    return gsm_wait(expect, timeout_ms);
}

/* "+QGPSLOC: hhmmss.sss,lat,lon,hdop,alt,fix,cog,spkm,spkn,ddmmyy,nsat" (AT+QGPSLOC=2) -> GNSS fields of *g.
 * Velocity east|north from speed over ground and course. false if the line is missing or malformed. */
static bool gnss_parse(const char *s, FC_tlm *g)
{
    double v[11];
    char *end;
    if (!(s = strstr(s, "+QGPSLOC:"))) return false;
    s += 9;
    for (int i = 0; i < 11; i++) {
        v[i] = strtod(s, &end);
        if (i < 10 && *end != ',') return false;
        s = end + 1;
    }
    int hh = (int)(v[0] / 10000), mm = (int)(v[0] / 100) % 100;
    g->gnss_time = (float)(hh * 3600 + mm * 60) + (float)(v[0] - hh * 10000 - mm * 100);
    g->lat = v[1];
    g->lon = v[2];
    g->gnss_alt = (float)v[4];
    g->sats = (int)v[10];
    float spd = (float)v[7] / 3.6f, cog = (float)v[6] * 3.14159265f / 180.0f;
    g->gnss_vel[0] = spd * sinf(cog);
    g->gnss_vel[1] = spd * cosf(cog);
    return true;
}

/* Every GNSS_PERIOD_MS ask the modem for its fix; no fix (+CME ERROR: 516) clears gsm_gnss. */
static void gsm_gnss_update(uint32_t *last)
{
    char line[128];
    FC_tlm g;
    if (osKernelGetTickCount() - *last < GNSS_PERIOD_MS) return;
    *last = osKernelGetTickCount();
    bool ok = gsm_cmd("AT+QGPSLOC=2\r\n", "OK", 1000);
    if (ok) {
        taskENTER_CRITICAL();
        strncpy(line, gsm_acc, sizeof line - 1);
        line[sizeof line - 1] = 0;
        taskEXIT_CRITICAL();
        ok = gnss_parse(line, &g);
    }
    osMutexAcquire(fc_mutex, osWaitForever);
    if (ok) gsm_gnss = g; else gsm_gnss.sats = 0;
    osMutexRelease(fc_mutex);
}

static bool gsm_connect(void)
{
    char cmd[128];
    int i;

    for (i = 0; i < 10 && !gsm_cmd("AT\r\n", "OK", 500); i++) osDelay(500);
    if (i == 10) return false;
    gsm_cmd("ATE0\r\n", "OK", 500);
    gsm_cmd("AT+QGPS=1\r\n", "OK", 2000);                       /* GNSS on; ERROR if already running: fine */
    if (!gsm_cmd("AT+CPIN?\r\n", "READY", 2000)) return false;
    for (i = 0; i < 60; i++) {
        gsm_cmd("AT+CREG?\r\n", "OK", 1000);
        if (gsm_has("+CREG: 0,1") || gsm_has("+CREG: 0,5")) break;
        osDelay(1000);
    }
    if (i == 60) return false;
    gsm_cmd("AT+CMGF=1\r\n", "OK", 1000);                       /* SMS text mode */
    gsm_cmd("AT+CNMI=2,2,0,0,0\r\n", "OK", 1000);               /* incoming SMS straight to the UART as +CMT, not stored */
    snprintf(cmd, sizeof cmd, "AT+QICSGP=1,1,\"%s\",\"\",\"\",1\r\n", GSM_APN);
    if (!gsm_cmd(cmd, "OK", 2000)) return false;
    gsm_cmd("AT+QIACT=1\r\n", "OK", 30000);                     /* ERROR if already active: fine */
    return true;
}

/* Broker stage only; retried on its own by gsm_task until it succeeds.
 * The modem answers a failed open/connect quickly with a non-zero result, so wait for the
 * result line itself, not for the success value, and do not sit out the full timeout. */
static bool mqtt_connect(void)
{
    char cmd[128];
    gsm_cmd("AT+QMTCLOSE=0\r\n", "OK", 2000);                   /* drop a stale session */
    gsm_cmd("AT+QMTCFG=\"version\",0,4\r\n", "OK", 1000);       /* MQTT 3.1.1 */
    snprintf(cmd, sizeof cmd, "AT+QMTOPEN=0,\"%s\",%d\r\n", MQTT_BROKER, MQTT_PORT);
    if (!gsm_cmd(cmd, "+QMTOPEN: 0,", 30000) || !gsm_has("+QMTOPEN: 0,0")) return false;
    snprintf(cmd, sizeof cmd, "AT+QMTCONN=0,\"%s\"\r\n", MQTT_CLIENT_ID);
    if (!gsm_cmd(cmd, "+QMTCONN: 0,", 15000) || !gsm_has("+QMTCONN: 0,0,0")) return false;
    snprintf(cmd, sizeof cmd, "AT+QMTSUB=0,1,\"%s\",0\r\n", MQTT_TOPIC_CMD);
    return gsm_cmd(cmd, "+QMTSUB: 0,1,", 15000) && gsm_has("+QMTSUB: 0,1,0");
}

/* false only when the modem refuses the publish (no ">" prompt, ERROR, or an explicit
 * +QMTPUBEX failure); a slow ack is tolerated so a busy network does not trigger reconnects. */
static bool mqtt_publish(const char *topic, const char *msg, int len)
{
    char cmd[96];
    snprintf(cmd, sizeof cmd, "AT+QMTPUBEX=0,0,0,0,\"%s\",%d\r\n", topic, len);
    if (!gsm_cmd(cmd, ">", 300)) return false;
    gsm_clear();
    gsm_send(msg, len);
    if (gsm_wait("+QMTPUBEX: 0,0,", GSM_PUB_TIMEOUT_MS)) return gsm_has("+QMTPUBEX: 0,0,0");
    return !gsm_has("ERROR");
}

static void send_sms(const gsm_tlm *t)
{
    char body[160];
    snprintf(body, sizeof body, "T+%lus GNSS %.0f %.6f,%.6f alt %.1fm sats %d",
             (unsigned long)t->mission_time, t->gnss_time, t->lat, t->lon, t->gnss_alt, t->sats);
    if (!gsm_cmd("AT+CMGS=\"" SMS_NUMBER "\"\r\n", ">", 3000)) { gsm_send("\x1b", 1); return; }
    gsm_clear();
    gsm_send(body, strlen(body));
    gsm_send("\x1a", 1);
    gsm_wait("+CMGS", SMS_TIMEOUT_MS);
}

static void gsm_task(void *arg)
{
    static char buf[TLM_LINE_MAX];
    gsm_tlm t;
    tc_msg_t a;
    const img_line_t *l;
    uint32_t count = 0, next = 0, last_sms = 0, last_gnss = 0;
    int fails = 0;
    bool online = false, net_up = false;

    gsm_task_h = osThreadGetId();
    HAL_UARTEx_ReceiveToIdle_IT(&huart4, gsm_rx, sizeof gsm_rx);
    osDelay(GSM_BOOT_MS);

    for (;;) {
        if (!online) {
            img_r_gsm = img_w;                 /* offline: do not hold the image ring (and XBee) back */
            osMessageQueueReset(ack_q);        /* stale acks are useless */
            if (!net_up) net_up = gsm_connect();
            online = net_up && mqtt_connect();
            if (!online) {                     /* keep trying the broker; every Nth miss redo the modem bring-up too */
                if (++fails % MQTT_RETRIES_PER_NET == 0) net_up = false;
                if (net_up) gsm_gnss_update(&last_gnss);   /* fix is useful to LoRa/XBee even with no broker */
                osDelay(MQTT_RETRY_MS);
                continue;
            }
            fails = 0;
            next = last_sms = osKernelGetTickCount();
        }

        /* ponytail: 15 Hz through AT commands is at the edge of what a 115200 modem link does
         * (~30 ms payload + modem latency per publish); lower GSM_PERIOD_MS to 100 if packets drop. */
        if (tlm_snapshot(&t, count + 1)) {
            int len = tlm_format(&t, buf, sizeof buf);
            if (len > 0 && mqtt_publish(MQTT_TOPIC_TLM, buf, len)) { count++; fails = 0; }
            else if (++fails >= GSM_MAX_FAILS) online = false;
        }

        /* ponytail: GSM is the slowest relay (~15 image lines/s), so it paces the IMGACK to the FC */
        for (int i = 0; i < GSM_IMG_PER_PERIOD && online && (l = img_peek(&img_r_gsm)); i++) {
            if (mqtt_publish(MQTT_TOPIC_IMG, l->data, l->len)) fails = 0;
            else if (++fails >= GSM_MAX_FAILS) online = false;
            img_r_gsm++;                       /* a failed line is dropped; the image is incomplete over MQTT */
        }

        while (online && osMessageQueueGet(ack_q, &a, NULL, 0) == osOK)
            if (!mqtt_publish(MQTT_TOPIC_ACK, a.data, a.len) && ++fails >= GSM_MAX_FAILS) online = false;

        if (fc_valid && osKernelGetTickCount() - last_sms >= SMS_PERIOD_MS) {
            last_sms = osKernelGetTickCount();
            send_sms(&t);
        }

        gsm_gnss_update(&last_gnss);
        if (gsm_handle_urc()) online = false;
        sleep_until(&next, GSM_PERIOD_MS);
    }
}

/* ---------------- init ---------------- */
void RF_Tasks_Init(void)
{
    static const osThreadAttr_t fc_attr   = { .name = "fc_comms", .stack_size = 1024 * 4, .priority = osPriorityAboveNormal };
    static const osThreadAttr_t lora_attr = { .name = "lora",     .stack_size = 1024 * 4, .priority = osPriorityNormal };
    static const osThreadAttr_t xbee_attr = { .name = "xbee",     .stack_size = 1024 * 4, .priority = osPriorityNormal };
    static const osThreadAttr_t gsm_attr  = { .name = "gsm",      .stack_size = 1536 * 4, .priority = osPriorityBelowNormal };

    fc_mutex = osMutexNew(NULL);
    tc_q     = osMessageQueueNew(8, sizeof(tc_msg_t), NULL);
    ack_q    = osMessageQueueNew(4, sizeof(tc_msg_t), NULL);

    osThreadNew(fc_comms_task, NULL, &fc_attr);
    osThreadNew(lora_task,     NULL, &lora_attr);
    osThreadNew(xbee_task,     NULL, &xbee_attr);
    osThreadNew(gsm_task,      NULL, &gsm_attr);
}
/* USER CODE END Application */
